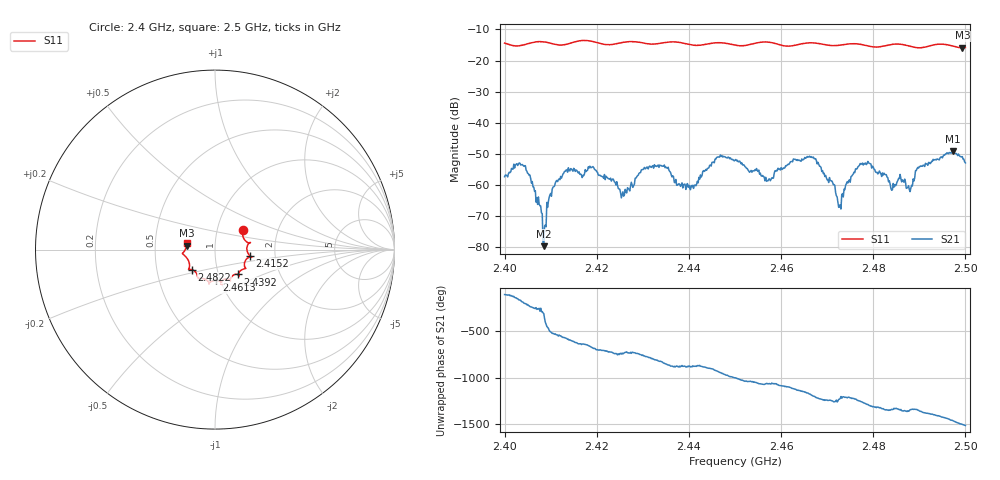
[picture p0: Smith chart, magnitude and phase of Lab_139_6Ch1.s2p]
# Hz S RI R 50
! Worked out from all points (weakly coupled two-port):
!   601 points, 2.4 GHz to 2.5 GHz, reference 50 ohm
!   highest |S21| = -49.17 dB at 2.4973 GHz (marker M1); lowest = -79.6 dB at 2.4085 GHz (marker M2)
!   lowest |S11| = -15.9 dB at 2.4993 GHz (marker M3), VSWR 1.38, Z = 36.3 + j1.63 ohm
!   |S11| at or under -10 dB: start of sweep to end of sweep
!   S12 and S22 are empty: the file has one direction only
!   S11 on the Smith chart (normalised r, x): 2.4 GHz: 1.33, +0.30; 2.4152 GHz: 1.48, -0.11; 2.4392 GHz: 1.23, -0.35; 2.4613 GHz: 0.96, -0.34; 2.4822 GHz: 0.76, -0.17; 2.5 GHz: 0.73, +0.05
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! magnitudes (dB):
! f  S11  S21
! 2.4 GHz  -14.4  -57.3
! 2.4043 GHz  -14.9  -53.8
! 2.4085 GHz  -14.0  -79.6
! 2.4108 GHz  -14.8  -60.3
! 2.4152 GHz  -14.0  -54.9
! 2.4167 GHz  -13.6  -56.6
! 2.4257 GHz  -14.2  -62.1
! 2.4333 GHz  -14.6  -53.5
! 2.4392 GHz  -14.5  -59.7
! 2.45 GHz  -15.0  -51.9
! 2.4573 GHz  -14.1  -58.1
! 2.4613 GHz  -15.4  -53.5
! 2.4667 GHz  -14.3  -51.1
! 2.4725 GHz  -15.1  -67.1
! 2.4772 GHz  -14.8  -53.0
! 2.4822 GHz  -15.4  -56.7
! 2.4833 GHz  -15.0  -58.9
! 2.4877 GHz  -15.3  -60.2
! 2.49 GHz  -15.9  -54.0
! 2.4973 GHz  -15.4  -49.2
! 2.4993 GHz  -15.9  -50.8
! 2.5 GHz  -15.8  -52.8
